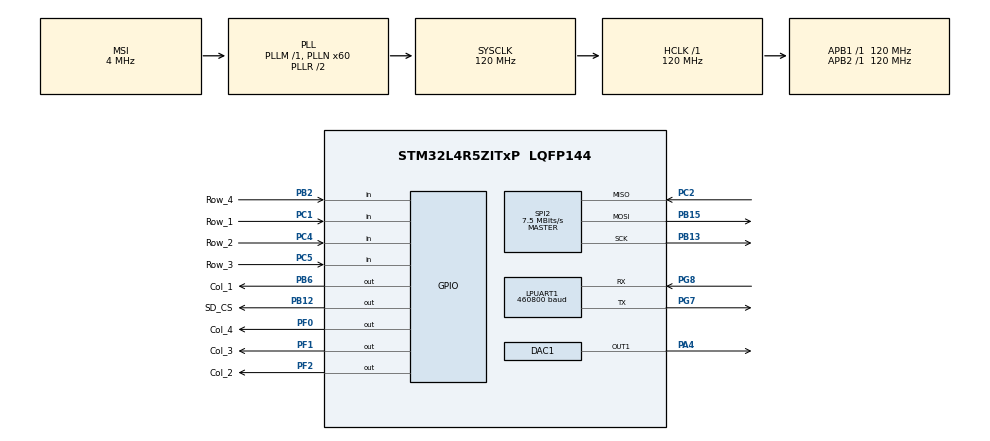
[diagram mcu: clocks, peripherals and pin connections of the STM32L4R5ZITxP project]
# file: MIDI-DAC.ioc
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DAC1.DAC_Trigger-DAC_OUT1=DAC_TRIGGER_T2_TRGO
Dma.DAC1_CH1.1.Direction=DMA_MEMORY_TO_PERIPH
Dma.DAC1_CH1.1.EventEnable=DISABLE
Dma.DAC1_CH1.1.Instance=DMA1_Channel2
Dma.DAC1_CH1.1.MemDataAlignment=DMA_MDATAALIGN_BYTE
Dma.DAC1_CH1.1.MemInc=DMA_MINC_ENABLE
Dma.DAC1_CH1.1.Mode=DMA_CIRCULAR
Dma.DAC1_CH1.1.PeriphDataAlignment=DMA_PDATAALIGN_HALFWORD
Dma.DAC1_CH1.1.PeriphInc=DMA_PINC_DISABLE
Dma.DAC1_CH1.1.Polarity=HAL_DMAMUX_REQUEST_GEN_RISING
Dma.DAC1_CH1.1.Priority=DMA_PRIORITY_LOW
Dma.DAC1_CH1.1.RequestNumber=1
Dma.DAC1_CH1.1.SignalID=NONE
Dma.DAC1_CH1.1.SyncEnable=DISABLE
Dma.DAC1_CH1.1.SyncPolarity=HAL_DMAMUX_SYNC_NO_EVENT
Dma.DAC1_CH1.1.SyncRequestNumber=1
Dma.DAC1_CH1.1.SyncSignalID=NONE
Dma.LPUART1_RX.0.Direction=DMA_PERIPH_TO_MEMORY
Dma.LPUART1_RX.0.EventEnable=DISABLE
Dma.LPUART1_RX.0.Instance=DMA1_Channel1
Dma.LPUART1_RX.0.MemDataAlignment=DMA_MDATAALIGN_BYTE
Dma.LPUART1_RX.0.MemInc=DMA_MINC_ENABLE
Dma.LPUART1_RX.0.Mode=DMA_NORMAL
Dma.LPUART1_RX.0.PeriphDataAlignment=DMA_PDATAALIGN_BYTE
Dma.LPUART1_RX.0.PeriphInc=DMA_PINC_DISABLE
Dma.LPUART1_RX.0.Polarity=HAL_DMAMUX_REQUEST_GEN_RISING
Dma.LPUART1_RX.0.Priority=DMA_PRIORITY_LOW
Dma.LPUART1_RX.0.RequestNumber=1
Dma.LPUART1_RX.0.SignalID=NONE
Dma.LPUART1_RX.0.SyncEnable=DISABLE
Dma.LPUART1_RX.0.SyncPolarity=HAL_DMAMUX_SYNC_NO_EVENT
Dma.LPUART1_RX.0.SyncRequestNumber=1
Dma.LPUART1_RX.0.SyncSignalID=NONE
Dma.Request0=LPUART1_RX
Dma.Request1=DAC1_CH1
FATFS._MAX_SS=512
FATFS._USE_LFN=0
LPUART1.BaudRate=460800
LPUART1.WordLength=UART_WORDLENGTH_8B
Mcu.Family=STM32L4
Mcu.Name=STM32L4R5ZITxP
Mcu.Package=LQFP144
NVIC.DMA1_Channel1_IRQn=true\:0\:0\:false\:false\:true\:false\:true\:true
NVIC.DMA1_Channel2_IRQn=true\:0\:0\:false\:false\:true\:false\:true\:true
NVIC.LPUART1_IRQn=true\:0\:0\:false\:false\:true\:true\:true\:true
NVIC.PriorityGroup=NVIC_PRIORITYGROUP_4
PA0.Signal=S_TIM2_CH1
PA1.Signal=ADCx_IN6
PA10.Signal=USB_OTG_FS_ID
PA13\ (JTMS/SWDIO).Mode=Serial_Wire
PA13\ (JTMS/SWDIO).Signal=SYS_JTMS-SWDIO
PA14\ (JTCK/SWCLK).Mode=Serial_Wire
PA14\ (JTCK/SWCLK).Signal=SYS_JTCK-SWCLK
PA3.Signal=ADCx_IN8
PA4.Signal=COMP_DAC11_group
PA5.Signal=SPI1_SCK
PA6.Signal=SPI1_MISO
PA7.Signal=SPI1_MOSI
PA8.Signal=USB_OTG_FS_SOF
PA9.Signal=USB_OTG_FS_VBUS
PB0.Signal=S_TIM3_CH3
PB1.Signal=ADCx_IN16
PB10.Signal=S_TIM2_CH3
PB12.GPIO_Label=SD_CS
PB12.Signal=GPIO_Output
PB13.Mode=Full_Duplex_Master
PB13.Signal=SPI2_SCK
PB14.Signal=S_TIM15_CH1
PB15.Mode=Full_Duplex_Master
PB15.Signal=SPI2_MOSI
PB2.GPIO_Label=Row_4
PB2.GPIO_PuPd=GPIO_PULLUP
PB2.Signal=GPIO_Input
PB3\ (JTDO/TRACESWO).Signal=SPI3_SCK
PB4\ (NJTRST).Signal=SPI3_MISO
PB5.Signal=SPI3_MOSI
PB6.GPIO_Label=Col_1
PB6.GPIO_PuPd=GPIO_NOPULL
PB6.PinState=GPIO_PIN_SET
PB6.Signal=GPIO_Output
PB8.Signal=I2C1_SCL
PB9.Signal=I2C1_SDA
PC0.Signal=ADCx_IN1
PC1.GPIO_Label=Row_1
PC1.GPIO_PuPd=GPIO_PULLUP
PC1.Signal=GPIO_Input
PC10.Signal=SDMMC1_D2
PC11.Signal=SDMMC1_D3
PC12.Signal=SDMMC1_CK
PC13.Signal=SYS_WKUP2
PC14-OSC32_IN\ (PC14).Signal=RCC_OSC32_IN
PC15-OSC32_OUT\ (PC15).Signal=RCC_OSC32_OUT
PC2.Mode=Full_Duplex_Master
PC2.Signal=SPI2_MISO
PC3.Signal=ADCx_IN4
PC4.GPIO_Label=Row_2
PC4.GPIO_PuPd=GPIO_PULLUP
PC4.Signal=GPIO_Input
PC5.GPIO_Label=Row_3
PC5.GPIO_PuPd=GPIO_PULLUP
PC5.Signal=GPIO_Input
PC6.Signal=SAI2_MCLK_A
PC7.Signal=S_TIM3_CH2
PC8.Signal=SDMMC1_D0
PC9.Signal=SDMMC1_D1
PD0.Signal=CAN1_RX
PD14.Signal=S_TIM4_CH3
PD15.Signal=S_TIM4_CH4
PD2.Signal=SDMMC1_CMD
PD3.Signal=USART2_CTS
PD4.Signal=USART2_RTS
PD5.Signal=USART2_TX
PD6.Signal=USART2_RX
PD8.Signal=USART3_TX
PD9.Signal=USART3_RX
PE0.Signal=S_TIM4_ETR
PE10.Signal=TIM1_CH2N
PE11.Signal=S_TIM1_CH2
PE12.Signal=TIM1_CH3N
PE13.Signal=S_TIM1_CH3
PE14.Signal=TIM1_BKIN2
PE15.Signal=TIM1_BKIN
PE2.Signal=SAI1_MCLK_A
PE3.Signal=SAI1_SD_B
PE7.Signal=S_TIM1_ETR
PE8.Signal=TIM1_CH1N
PE9.Signal=S_TIM1_CH1
PF0.GPIO_Label=Col_4
PF0.PinState=GPIO_PIN_SET
PF0.Signal=GPIO_Output
PF1.GPIO_Label=Col_3
PF1.GPIO_ModeDefaultOutputPP=GPIO_MODE_OUTPUT_PP
PF1.GPIO_PuPd=GPIO_NOPULL
PF1.PinState=GPIO_PIN_SET
PF1.Signal=GPIO_Output
PF2.GPIO_Label=Col_2
PF2.GPIO_ModeDefaultOutputPP=GPIO_MODE_OUTPUT_PP
PF2.GPIO_PuPd=GPIO_NOPULL
PF2.PinState=GPIO_PIN_SET
PF2.Signal=GPIO_Output
PF7.Signal=SAI1_MCLK_B
PG7.Mode=Asynchronous
PG7.Signal=LPUART1_TX
PG8.Mode=Asynchronous
PG8.Signal=LPUART1_RX
PH0-OSC_IN\ (PH0).Mode=HSE-External-Oscillator
PH0-OSC_IN\ (PH0).Signal=RCC_OSC_IN
PH1-OSC_OUT\ (PH1).Mode=HSE-External-Oscillator
PH1-OSC_OUT\ (PH1).Signal=RCC_OSC_OUT
ProjectManager.HeapSize=0x200
ProjectManager.StackSize=0x400
ProjectManager.TargetToolchain=STM32CubeIDE
RCC.ADCFreq_Value=16000000
RCC.AHBFreq_Value=120000000
RCC.APB1Freq_Value=120000000
RCC.APB1TimFreq_Value=120000000
RCC.APB2Freq_Value=120000000
RCC.APB2TimFreq_Value=120000000
RCC.CortexFreq_Value=120000000
RCC.HCLKFreq_Value=120000000
RCC.HSE_VALUE=8000000
RCC.HSI48_VALUE=48000000
RCC.HSI_VALUE=16000000
RCC.LSE_VALUE=32768
RCC.MSI_VALUE=4000000
RCC.PLLN=60
RCC.SYSCLKFreq_VALUE=120000000
RCC.SYSCLKSource=RCC_SYSCLKSOURCE_PLLCLK
RCC.USBFreq_Value=16000000
RCC.VCOOutputFreq_Value=240000000
SH.ADCx_IN1.0=ADC1_IN1
SH.ADCx_IN16.0=ADC1_IN16
SH.ADCx_IN4.0=ADC1_IN4
SH.ADCx_IN6.0=ADC1_IN6
SH.ADCx_IN8.0=ADC1_IN8
SH.COMP_DAC11_group.0=DAC1_OUT1,DAC_OUT1
SH.S_TIM15_CH1.0=TIM15_CH1
SH.S_TIM1_CH1.0=TIM1_CH1
SH.S_TIM1_CH2.0=TIM1_CH2
SH.S_TIM1_CH3.0=TIM1_CH3
SH.S_TIM1_ETR.0=TIM1_ETR
SH.S_TIM2_CH1.0=TIM2_CH1
SH.S_TIM2_CH3.0=TIM2_CH3
SH.S_TIM3_CH2.0=TIM3_CH2
SH.S_TIM3_CH3.0=TIM3_CH3
SH.S_TIM4_CH3.0=TIM4_CH3
SH.S_TIM4_CH4.0=TIM4_CH4
SH.S_TIM4_ETR.0=TIM4_ETR
SPI2.BaudRatePrescaler=SPI_BAUDRATEPRESCALER_16
SPI2.CalculateBaudRate=7.5 MBits/s
SPI2.DataSize=SPI_DATASIZE_8BIT
SPI2.Direction=SPI_DIRECTION_2LINES
SPI2.Mode=SPI_MODE_MASTER
SPI2.VirtualType=VM_MASTER
TIM2.Period=2499
TIM2.TIM_MasterOutputTrigger=TIM_TRGO_UPDATE
VP_FATFS_VS_Generic.Mode=User_defined
VP_TIM2_VS_ClockSourceINT.Mode=Internal
board=NUCLEO-L4R5ZI-P

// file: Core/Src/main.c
/* USER CODE BEGIN Header */
/**
  ******************************************************************************
  * @file           : main.c
  * @brief          : Main program body
  ******************************************************************************
  * @attention
  *
  * Copyright (c) 2025 STMicroelectronics.
  * All rights reserved.
  *
  * This software is licensed under terms that can be found in the LICENSE file
  * in the root directory of this software component.
  * If no LICENSE file comes with this software, it is provided AS-IS.
  *
  ******************************************************************************
  */
/* USER CODE END Header */
#include "main.h"
#include "fatfs.h"

/* USER CODE BEGIN Includes */
#include "sd_card.h"
/* USER CODE END Includes */

/* USER CODE BEGIN PD */
#define CHUNK_SIZE 64000
/* USER CODE END PD */

DAC_HandleTypeDef hdac1;
DMA_HandleTypeDef hdma_dac1_ch1;

UART_HandleTypeDef hlpuart1;
DMA_HandleTypeDef hdma_lpuart1_rx;

SPI_HandleTypeDef hspi2;

TIM_HandleTypeDef htim2;

/* USER CODE BEGIN PV */
char lastKey = 0;

/* USER CODE END PV */

void SystemClock_Config(void);
static void MX_GPIO_Init(void);
static void MX_DMA_Init(void);
static void MX_LPUART1_UART_Init(void);
static void MX_DAC1_Init(void);
static void MX_TIM2_Init(void);
static void MX_SPI2_Init(void);

/* USER CODE BEGIN 0 */

char read_keypad() {
	// Row pins
	GPIO_TypeDef* ROW_PORT[4] = {Row_1_GPIO_Port, Row_2_GPIO_Port, Row_3_GPIO_Port, Row_4_GPIO_Port};
	uint16_t      ROW_PIN[4]  = {Row_1_Pin,       Row_2_Pin,       Row_3_Pin,       Row_4_Pin};

	// Col pins
	GPIO_TypeDef* COL_PORT[4] = {Col_1_GPIO_Port, Col_2_GPIO_Port, Col_3_GPIO_Port, Col_4_GPIO_Port};
	uint16_t     COL_PIN[4]  = {Col_1_Pin,       Col_2_Pin,       Col_3_Pin,       Col_4_Pin};

	// Key map (customize to your keypad)
	char KEY_MAP[4][4] =
	{
		{'1','2','3','A'},
		{'4','5','6','B'},
		{'7','8','9','C'},
		{'*','0','#','D'}
	};

	for (int c = 0; c < 4; c++)
	{
		// Drive all columns HIGH
		for (int i = 0; i < 4; i++)
			HAL_GPIO_WritePin(COL_PORT[i], COL_PIN[i], GPIO_PIN_SET);

		// Drive only this column LOW
		HAL_GPIO_WritePin(COL_PORT[c], COL_PIN[c], GPIO_PIN_RESET);

		HAL_Delay(1); // settle time

		// Read each row
		for (int r = 0; r < 4; r++)
		{
			if (HAL_GPIO_ReadPin(ROW_PORT[r], ROW_PIN[r]) == GPIO_PIN_RESET)
			{
				HAL_Delay(20);   // debounce
				if (HAL_GPIO_ReadPin(ROW_PORT[r], ROW_PIN[r]) == GPIO_PIN_RESET)
					return KEY_MAP[r][c];
			}
		}
	}

	return 0;
}

void MIDI_Play(char keyPressed) {

    switch(keyPressed) {
    	case '1':
    		play_sound_byte("boom.raw", &hdac1, &htim2);
    	case '2':
    		play_sound_byte("boom.raw", &hdac1, &htim2);
    	case '3':
    		play_sound_byte("boom.raw", &hdac1, &htim2);
    	case 'A':
    		play_sound_byte("boom.raw", &hdac1, &htim2);
    	case '4':
    		play_sound_byte("boom.raw", &hdac1, &htim2);
    	case '5':
    		play_sound_byte("boom.raw", &hdac1, &htim2);
    	case '6':
    		play_sound_byte("boom.raw", &hdac1, &htim2);
    	case 'B':
    		play_sound_byte("boom.raw", &hdac1, &htim2);
    	case '7':
    		play_sound_byte("boom.raw", &hdac1, &htim2);
    	case '8':
    		play_sound_byte("boom.raw", &hdac1, &htim2);
    	case '9':
    		play_sound_byte("boom.raw", &hdac1, &htim2);
    	case 'C':
    		play_sound_byte("boom.raw", &hdac1, &htim2);
    	case '*':
    		play_sound_byte("boom.raw", &hdac1, &htim2);
    	case '0':
    		play_sound_byte("boom.raw", &hdac1, &htim2);
    	case '#':
    		play_sound_byte("boom.raw", &hdac1, &htim2);
    	case 'D':
    		play_sound_byte("boom.raw", &hdac1, &htim2);
    }
}

/* USER CODE END 0 */

int main(void)
{

  /* MCU Configuration--------------------------------------------------------*/

  /* Reset of all peripherals, Initializes the Flash interface and the Systick. */
  HAL_Init();

  /* Configure the system clock */
  SystemClock_Config();

  /* Initialize all configured peripherals */
  MX_GPIO_Init();
  MX_DMA_Init();
  MX_LPUART1_UART_Init();
  MX_DAC1_Init();
  MX_TIM2_Init();
  MX_SPI2_Init();
  MX_FATFS_Init();

  /* Infinite loop */
  /* USER CODE BEGIN WHILE */
  while (1)
  {
	  MIDI_Play(read_keypad());
    /* USER CODE END WHILE */

  }
}

void SystemClock_Config(void)
{
  RCC_OscInitTypeDef RCC_OscInitStruct = {0};
  RCC_ClkInitTypeDef RCC_ClkInitStruct = {0};

  /** Configure the main internal regulator output voltage
  */
  if (HAL_PWREx_ControlVoltageScaling(PWR_REGULATOR_VOLTAGE_SCALE1_BOOST) != HAL_OK)
  {
    Error_Handler();
  }

  /** Initializes the RCC Oscillators according to the specified parameters
  * in the RCC_OscInitTypeDef structure.
  */
  RCC_OscInitStruct.OscillatorType = RCC_OSCILLATORTYPE_MSI;
  RCC_OscInitStruct.MSIState = RCC_MSI_ON;
  RCC_OscInitStruct.MSICalibrationValue = 0;
  RCC_OscInitStruct.MSIClockRange = RCC_MSIRANGE_6;
  RCC_OscInitStruct.PLL.PLLState = RCC_PLL_ON;
  RCC_OscInitStruct.PLL.PLLSource = RCC_PLLSOURCE_MSI;
  RCC_OscInitStruct.PLL.PLLM = 1;
  RCC_OscInitStruct.PLL.PLLN = 60;
  RCC_OscInitStruct.PLL.PLLP = RCC_PLLP_DIV2;
  RCC_OscInitStruct.PLL.PLLQ = RCC_PLLQ_DIV2;
  RCC_OscInitStruct.PLL.PLLR = RCC_PLLR_DIV2;
  if (HAL_RCC_OscConfig(&RCC_OscInitStruct) != HAL_OK)
  {
    Error_Handler();
  }

  /** Initializes the CPU, AHB and APB buses clocks
  */
  RCC_ClkInitStruct.ClockType = RCC_CLOCKTYPE_HCLK|RCC_CLOCKTYPE_SYSCLK
                              |RCC_CLOCKTYPE_PCLK1|RCC_CLOCKTYPE_PCLK2;
  RCC_ClkInitStruct.SYSCLKSource = RCC_SYSCLKSOURCE_PLLCLK;
  RCC_ClkInitStruct.AHBCLKDivider = RCC_SYSCLK_DIV1;
  RCC_ClkInitStruct.APB1CLKDivider = RCC_HCLK_DIV1;
  RCC_ClkInitStruct.APB2CLKDivider = RCC_HCLK_DIV1;

  if (HAL_RCC_ClockConfig(&RCC_ClkInitStruct, FLASH_LATENCY_5) != HAL_OK)
  {
    Error_Handler();
  }
}

static void MX_DAC1_Init(void)
{

  DAC_ChannelConfTypeDef sConfig = {0};

  /** DAC Initialization
  */
  hdac1.Instance = DAC1;
  if (HAL_DAC_Init(&hdac1) != HAL_OK)
  {
    Error_Handler();
  }

  /** DAC channel OUT1 config
  */
  sConfig.DAC_SampleAndHold = DAC_SAMPLEANDHOLD_DISABLE;
  sConfig.DAC_Trigger = DAC_TRIGGER_T2_TRGO;
  sConfig.DAC_HighFrequency = DAC_HIGH_FREQUENCY_INTERFACE_MODE_ABOVE_80MHZ;
  sConfig.DAC_OutputBuffer = DAC_OUTPUTBUFFER_ENABLE;
  sConfig.DAC_ConnectOnChipPeripheral = DAC_CHIPCONNECT_DISABLE;
  sConfig.DAC_UserTrimming = DAC_TRIMMING_FACTORY;
  if (HAL_DAC_ConfigChannel(&hdac1, &sConfig, DAC_CHANNEL_1) != HAL_OK)
  {
    Error_Handler();
  }

}

static void MX_LPUART1_UART_Init(void)
{

  hlpuart1.Instance = LPUART1;
  hlpuart1.Init.BaudRate = 460800;
  hlpuart1.Init.WordLength = UART_WORDLENGTH_8B;
  hlpuart1.Init.StopBits = UART_STOPBITS_1;
  hlpuart1.Init.Parity = UART_PARITY_NONE;
  hlpuart1.Init.Mode = UART_MODE_TX_RX;
  hlpuart1.Init.HwFlowCtl = UART_HWCONTROL_NONE;
  hlpuart1.Init.OneBitSampling = UART_ONE_BIT_SAMPLE_DISABLE;
  hlpuart1.Init.ClockPrescaler = UART_PRESCALER_DIV1;
  hlpuart1.AdvancedInit.AdvFeatureInit = UART_ADVFEATURE_NO_INIT;
  hlpuart1.FifoMode = UART_FIFOMODE_DISABLE;
  if (HAL_UART_Init(&hlpuart1) != HAL_OK)
  {
    Error_Handler();
  }
  if (HAL_UARTEx_SetTxFifoThreshold(&hlpuart1, UART_TXFIFO_THRESHOLD_1_8) != HAL_OK)
  {
    Error_Handler();
  }
  if (HAL_UARTEx_SetRxFifoThreshold(&hlpuart1, UART_RXFIFO_THRESHOLD_1_8) != HAL_OK)
  {
    Error_Handler();
  }
  if (HAL_UARTEx_DisableFifoMode(&hlpuart1) != HAL_OK)
  {
    Error_Handler();
  }

}

static void MX_SPI2_Init(void)
{

  /* SPI2 parameter configuration*/
  hspi2.Instance = SPI2;
  hspi2.Init.Mode = SPI_MODE_MASTER;
  hspi2.Init.Direction = SPI_DIRECTION_2LINES;
  hspi2.Init.DataSize = SPI_DATASIZE_8BIT;
  hspi2.Init.CLKPolarity = SPI_POLARITY_LOW;
  hspi2.Init.CLKPhase = SPI_PHASE_1EDGE;
  hspi2.Init.NSS = SPI_NSS_SOFT;
  hspi2.Init.BaudRatePrescaler = SPI_BAUDRATEPRESCALER_16;
  hspi2.Init.FirstBit = SPI_FIRSTBIT_MSB;
  hspi2.Init.TIMode = SPI_TIMODE_DISABLE;
  hspi2.Init.CRCCalculation = SPI_CRCCALCULATION_DISABLE;
  hspi2.Init.CRCPolynomial = 7;
  hspi2.Init.CRCLength = SPI_CRC_LENGTH_DATASIZE;
  hspi2.Init.NSSPMode = SPI_NSS_PULSE_ENABLE;
  if (HAL_SPI_Init(&hspi2) != HAL_OK)
  {
    Error_Handler();
  }

}

static void MX_TIM2_Init(void)
{

  TIM_ClockConfigTypeDef sClockSourceConfig = {0};
  TIM_MasterConfigTypeDef sMasterConfig = {0};

  htim2.Instance = TIM2;
  htim2.Init.Prescaler = 0;
  htim2.Init.CounterMode = TIM_COUNTERMODE_UP;
  htim2.Init.Period = 2499;
  htim2.Init.ClockDivision = TIM_CLOCKDIVISION_DIV1;
  htim2.Init.AutoReloadPreload = TIM_AUTORELOAD_PRELOAD_DISABLE;
  if (HAL_TIM_Base_Init(&htim2) != HAL_OK)
  {
    Error_Handler();
  }
  sClockSourceConfig.ClockSource = TIM_CLOCKSOURCE_INTERNAL;
  if (HAL_TIM_ConfigClockSource(&htim2, &sClockSourceConfig) != HAL_OK)
  {
    Error_Handler();
  }
  sMasterConfig.MasterOutputTrigger = TIM_TRGO_UPDATE;
  sMasterConfig.MasterSlaveMode = TIM_MASTERSLAVEMODE_DISABLE;
  if (HAL_TIMEx_MasterConfigSynchronization(&htim2, &sMasterConfig) != HAL_OK)
  {
    Error_Handler();
  }

}

static void MX_DMA_Init(void)
{

  /* DMA controller clock enable */
  __HAL_RCC_DMAMUX1_CLK_ENABLE();
  __HAL_RCC_DMA1_CLK_ENABLE();

  /* DMA interrupt init */
  /* DMA1_Channel1_IRQn interrupt configuration */
  HAL_NVIC_SetPriority(DMA1_Channel1_IRQn, 0, 0);
  HAL_NVIC_EnableIRQ(DMA1_Channel1_IRQn);
  /* DMA1_Channel2_IRQn interrupt configuration */
  HAL_NVIC_SetPriority(DMA1_Channel2_IRQn, 0, 0);
  HAL_NVIC_EnableIRQ(DMA1_Channel2_IRQn);

}

static void MX_GPIO_Init(void)
{
  GPIO_InitTypeDef GPIO_InitStruct = {0};

  /* GPIO Ports Clock Enable */
  __HAL_RCC_GPIOE_CLK_ENABLE();
  __HAL_RCC_GPIOC_CLK_ENABLE();
  __HAL_RCC_GPIOF_CLK_ENABLE();
  __HAL_RCC_GPIOH_CLK_ENABLE();
  __HAL_RCC_GPIOA_CLK_ENABLE();
  __HAL_RCC_GPIOB_CLK_ENABLE();
  __HAL_RCC_GPIOD_CLK_ENABLE();
  __HAL_RCC_GPIOG_CLK_ENABLE();
  HAL_PWREx_EnableVddIO2();

  /*Configure GPIO pin Output Level */
  HAL_GPIO_WritePin(GPIOF, Col_4_Pin|Col_3_Pin|Col_2_Pin, GPIO_PIN_SET);

  /*Configure GPIO pin Output Level */
  HAL_GPIO_WritePin(SD_CS_GPIO_Port, SD_CS_Pin, GPIO_PIN_RESET);

  /*Configure GPIO pin Output Level */
  HAL_GPIO_WritePin(Col_1_GPIO_Port, Col_1_Pin, GPIO_PIN_SET);

  /*Configure GPIO pins : PE2 PE3 */
  GPIO_InitStruct.Pin = GPIO_PIN_2|GPIO_PIN_3;
  GPIO_InitStruct.Mode = GPIO_MODE_AF_PP;
  GPIO_InitStruct.Pull = GPIO_NOPULL;
  GPIO_InitStruct.Speed = GPIO_SPEED_FREQ_LOW;
  GPIO_InitStruct.Alternate = GPIO_AF13_SAI1;
  HAL_GPIO_Init(GPIOE, &GPIO_InitStruct);

  /*Configure GPIO pins : Col_4_Pin Col_3_Pin Col_2_Pin */
  GPIO_InitStruct.Pin = Col_4_Pin|Col_3_Pin|Col_2_Pin;
  GPIO_InitStruct.Mode = GPIO_MODE_OUTPUT_PP;
  GPIO_InitStruct.Pull = GPIO_NOPULL;
  GPIO_InitStruct.Speed = GPIO_SPEED_FREQ_LOW;
  HAL_GPIO_Init(GPIOF, &GPIO_InitStruct);

  /*Configure GPIO pin : PF7 */
  GPIO_InitStruct.Pin = GPIO_PIN_7;
  GPIO_InitStruct.Mode = GPIO_MODE_AF_PP;
  GPIO_InitStruct.Pull = GPIO_NOPULL;
  GPIO_InitStruct.Speed = GPIO_SPEED_FREQ_LOW;
  GPIO_InitStruct.Alternate = GPIO_AF13_SAI1;
  HAL_GPIO_Init(GPIOF, &GPIO_InitStruct);

  /*Configure GPIO pins : PC0 PC3 */
  GPIO_InitStruct.Pin = GPIO_PIN_0|GPIO_PIN_3;
  GPIO_InitStruct.Mode = GPIO_MODE_ANALOG_ADC_CONTROL;
  GPIO_InitStruct.Pull = GPIO_NOPULL;
  HAL_GPIO_Init(GPIOC, &GPIO_InitStruct);

  /*Configure GPIO pins : Row_1_Pin Row_2_Pin Row_3_Pin */
  GPIO_InitStruct.Pin = Row_1_Pin|Row_2_Pin|Row_3_Pin;
  GPIO_InitStruct.Mode = GPIO_MODE_INPUT;
  GPIO_InitStruct.Pull = GPIO_PULLUP;
  HAL_GPIO_Init(GPIOC, &GPIO_InitStruct);

  /*Configure GPIO pins : PA1 PA3 */
  GPIO_InitStruct.Pin = GPIO_PIN_1|GPIO_PIN_3;
  GPIO_InitStruct.Mode = GPIO_MODE_ANALOG_ADC_CONTROL;
  GPIO_InitStruct.Pull = GPIO_NOPULL;
  HAL_GPIO_Init(GPIOA, &GPIO_InitStruct);

  /*Configure GPIO pins : PA5 PA6 PA7 */
  GPIO_InitStruct.Pin = GPIO_PIN_5|GPIO_PIN_6|GPIO_PIN_7;
  GPIO_InitStruct.Mode = GPIO_MODE_AF_PP;
  GPIO_InitStruct.Pull = GPIO_NOPULL;
  GPIO_InitStruct.Speed = GPIO_SPEED_FREQ_VERY_HIGH;
  GPIO_InitStruct.Alternate = GPIO_AF5_SPI1;
  HAL_GPIO_Init(GPIOA, &GPIO_InitStruct);

  /*Configure GPIO pin : PB0 */
  GPIO_InitStruct.Pin = GPIO_PIN_0;
  GPIO_InitStruct.Mode = GPIO_MODE_AF_PP;
  GPIO_InitStruct.Pull = GPIO_NOPULL;
  GPIO_InitStruct.Speed = GPIO_SPEED_FREQ_LOW;
  GPIO_InitStruct.Alternate = GPIO_AF2_TIM3;
  HAL_GPIO_Init(GPIOB, &GPIO_InitStruct);

  /*Configure GPIO pin : PB1 */
  GPIO_InitStruct.Pin = GPIO_PIN_1;
  GPIO_InitStruct.Mode = GPIO_MODE_ANALOG_ADC_CONTROL;
  GPIO_InitStruct.Pull = GPIO_NOPULL;
  HAL_GPIO_Init(GPIOB, &GPIO_InitStruct);

  /*Configure GPIO pin : Row_4_Pin */
  GPIO_InitStruct.Pin = Row_4_Pin;
  GPIO_InitStruct.Mode = GPIO_MODE_INPUT;
  GPIO_InitStruct.Pull = GPIO_PULLUP;
  HAL_GPIO_Init(Row_4_GPIO_Port, &GPIO_InitStruct);

  /*Configure GPIO pins : PE7 PE8 PE9 PE10
                           PE11 PE12 PE13 */
  GPIO_InitStruct.Pin = GPIO_PIN_7|GPIO_PIN_8|GPIO_PIN_9|GPIO_PIN_10
                          |GPIO_PIN_11|GPIO_PIN_12|GPIO_PIN_13;
  GPIO_InitStruct.Mode = GPIO_MODE_AF_PP;
  GPIO_InitStruct.Pull = GPIO_NOPULL;
  GPIO_InitStruct.Speed = GPIO_SPEED_FREQ_LOW;
  GPIO_InitStruct.Alternate = GPIO_AF1_TIM1;
  HAL_GPIO_Init(GPIOE, &GPIO_InitStruct);

  /*Configure GPIO pins : PE14 PE15 */
  GPIO_InitStruct.Pin = GPIO_PIN_14|GPIO_PIN_15;
  GPIO_InitStruct.Mode = GPIO_MODE_AF_PP;
  GPIO_InitStruct.Pull = GPIO_NOPULL;
  GPIO_InitStruct.Speed = GPIO_SPEED_FREQ_LOW;
  GPIO_InitStruct.Alternate = GPIO_AF3_TIM1_COMP1;
  HAL_GPIO_Init(GPIOE, &GPIO_InitStruct);

  /*Configure GPIO pins : SD_CS_Pin Col_1_Pin */
  GPIO_InitStruct.Pin = SD_CS_Pin|Col_1_Pin;
  GPIO_InitStruct.Mode = GPIO_MODE_OUTPUT_PP;
  GPIO_InitStruct.Pull = GPIO_NOPULL;
  GPIO_InitStruct.Speed = GPIO_SPEED_FREQ_LOW;
  HAL_GPIO_Init(GPIOB, &GPIO_InitStruct);

  /*Configure GPIO pin : PB14 */
  GPIO_InitStruct.Pin = GPIO_PIN_14;
  GPIO_InitStruct.Mode = GPIO_MODE_AF_PP;
  GPIO_InitStruct.Pull = GPIO_NOPULL;
  GPIO_InitStruct.Speed = GPIO_SPEED_FREQ_LOW;
  GPIO_InitStruct.Alternate = GPIO_AF14_TIM15;
  HAL_GPIO_Init(GPIOB, &GPIO_InitStruct);

  /*Configure GPIO pins : PD8 PD9 */
  GPIO_InitStruct.Pin = GPIO_PIN_8|GPIO_PIN_9;
  GPIO_InitStruct.Mode = GPIO_MODE_AF_PP;
  GPIO_InitStruct.Pull = GPIO_NOPULL;
  GPIO_InitStruct.Speed = GPIO_SPEED_FREQ_VERY_HIGH;
  GPIO_InitStruct.Alternate = GPIO_AF7_USART3;
  HAL_GPIO_Init(GPIOD, &GPIO_InitStruct);

  /*Configure GPIO pins : PD14 PD15 */
  GPIO_InitStruct.Pin = GPIO_PIN_14|GPIO_PIN_15;
  GPIO_InitStruct.Mode = GPIO_MODE_AF_PP;
  GPIO_InitStruct.Pull = GPIO_NOPULL;
  GPIO_InitStruct.Speed = GPIO_SPEED_FREQ_LOW;
  GPIO_InitStruct.Alternate = GPIO_AF2_TIM4;
  HAL_GPIO_Init(GPIOD, &GPIO_InitStruct);

  /*Configure GPIO pin : PC6 */
  GPIO_InitStruct.Pin = GPIO_PIN_6;
  GPIO_InitStruct.Mode = GPIO_MODE_AF_PP;
  GPIO_InitStruct.Pull = GPIO_NOPULL;
  GPIO_InitStruct.Speed = GPIO_SPEED_FREQ_LOW;
  GPIO_InitStruct.Alternate = GPIO_AF13_SAI2;
  HAL_GPIO_Init(GPIOC, &GPIO_InitStruct);

  /*Configure GPIO pin : PC7 */
  GPIO_InitStruct.Pin = GPIO_PIN_7;
  GPIO_InitStruct.Mode = GPIO_MODE_AF_PP;
  GPIO_InitStruct.Pull = GPIO_NOPULL;
  GPIO_InitStruct.Speed = GPIO_SPEED_FREQ_LOW;
  GPIO_InitStruct.Alternate = GPIO_AF2_TIM3;
  HAL_GPIO_Init(GPIOC, &GPIO_InitStruct);

  /*Configure GPIO pins : PC8 PC9 PC10 PC11
                           PC12 */
  GPIO_InitStruct.Pin = GPIO_PIN_8|GPIO_PIN_9|GPIO_PIN_10|GPIO_PIN_11
                          |GPIO_PIN_12;
  GPIO_InitStruct.Mode = GPIO_MODE_AF_PP;
  GPIO_InitStruct.Pull = GPIO_NOPULL;
  GPIO_InitStruct.Speed = GPIO_SPEED_FREQ_VERY_HIGH;
  GPIO_InitStruct.Alternate = GPIO_AF12_SDMMC1;
  HAL_GPIO_Init(GPIOC, &GPIO_InitStruct);

  /*Configure GPIO pins : PA8 PA10 */
  GPIO_InitStruct.Pin = GPIO_PIN_8|GPIO_PIN_10;
  GPIO_InitStruct.Mode = GPIO_MODE_AF_PP;
  GPIO_InitStruct.Pull = GPIO_NOPULL;
  GPIO_InitStruct.Speed = GPIO_SPEED_FREQ_VERY_HIGH;
  GPIO_InitStruct.Alternate = GPIO_AF10_OTG_FS;
  HAL_GPIO_Init(GPIOA, &GPIO_InitStruct);

  /*Configure GPIO pin : PA9 */
  GPIO_InitStruct.Pin = GPIO_PIN_9;
  GPIO_InitStruct.Mode = GPIO_MODE_INPUT;
  GPIO_InitStruct.Pull = GPIO_NOPULL;
  HAL_GPIO_Init(GPIOA, &GPIO_InitStruct);

  /*Configure GPIO pin : PD0 */
  GPIO_InitStruct.Pin = GPIO_PIN_0;
  GPIO_InitStruct.Mode = GPIO_MODE_AF_PP;
  GPIO_InitStruct.Pull = GPIO_NOPULL;
  GPIO_InitStruct.Speed = GPIO_SPEED_FREQ_VERY_HIGH;
  GPIO_InitStruct.Alternate = GPIO_AF9_CAN1;
  HAL_GPIO_Init(GPIOD, &GPIO_InitStruct);

  /*Configure GPIO pin : PD2 */
  GPIO_InitStruct.Pin = GPIO_PIN_2;
  GPIO_InitStruct.Mode = GPIO_MODE_AF_PP;
  GPIO_InitStruct.Pull = GPIO_NOPULL;
  GPIO_InitStruct.Speed = GPIO_SPEED_FREQ_VERY_HIGH;
  GPIO_InitStruct.Alternate = GPIO_AF12_SDMMC1;
  HAL_GPIO_Init(GPIOD, &GPIO_InitStruct);

  /*Configure GPIO pins : PD3 PD4 PD5 PD6 */
  GPIO_InitStruct.Pin = GPIO_PIN_3|GPIO_PIN_4|GPIO_PIN_5|GPIO_PIN_6;
  GPIO_InitStruct.Mode = GPIO_MODE_AF_PP;
  GPIO_InitStruct.Pull = GPIO_NOPULL;
  GPIO_InitStruct.Speed = GPIO_SPEED_FREQ_VERY_HIGH;
  GPIO_InitStruct.Alternate = GPIO_AF7_USART2;
  HAL_GPIO_Init(GPIOD, &GPIO_InitStruct);

  /*Configure GPIO pins : PB3 PB4 PB5 */
  GPIO_InitStruct.Pin = GPIO_PIN_3|GPIO_PIN_4|GPIO_PIN_5;
  GPIO_InitStruct.Mode = GPIO_MODE_AF_PP;
  GPIO_InitStruct.Pull = GPIO_NOPULL;
  GPIO_InitStruct.Speed = GPIO_SPEED_FREQ_VERY_HIGH;
  GPIO_InitStruct.Alternate = GPIO_AF6_SPI3;
  HAL_GPIO_Init(GPIOB, &GPIO_InitStruct);

  /*Configure GPIO pins : PB8 PB9 */
  GPIO_InitStruct.Pin = GPIO_PIN_8|GPIO_PIN_9;
  GPIO_InitStruct.Mode = GPIO_MODE_AF_OD;
  GPIO_InitStruct.Pull = GPIO_NOPULL;
  GPIO_InitStruct.Speed = GPIO_SPEED_FREQ_VERY_HIGH;
  GPIO_InitStruct.Alternate = GPIO_AF4_I2C1;
  HAL_GPIO_Init(GPIOB, &GPIO_InitStruct);

  /*Configure GPIO pin : PE0 */
  GPIO_InitStruct.Pin = GPIO_PIN_0;
  GPIO_InitStruct.Mode = GPIO_MODE_AF_PP;
  GPIO_InitStruct.Pull = GPIO_NOPULL;
  GPIO_InitStruct.Speed = GPIO_SPEED_FREQ_LOW;
  GPIO_InitStruct.Alternate = GPIO_AF2_TIM4;
  HAL_GPIO_Init(GPIOE, &GPIO_InitStruct);

}

void Error_Handler(void)
{
  __disable_irq();
  while (1)
  {
  }
}
